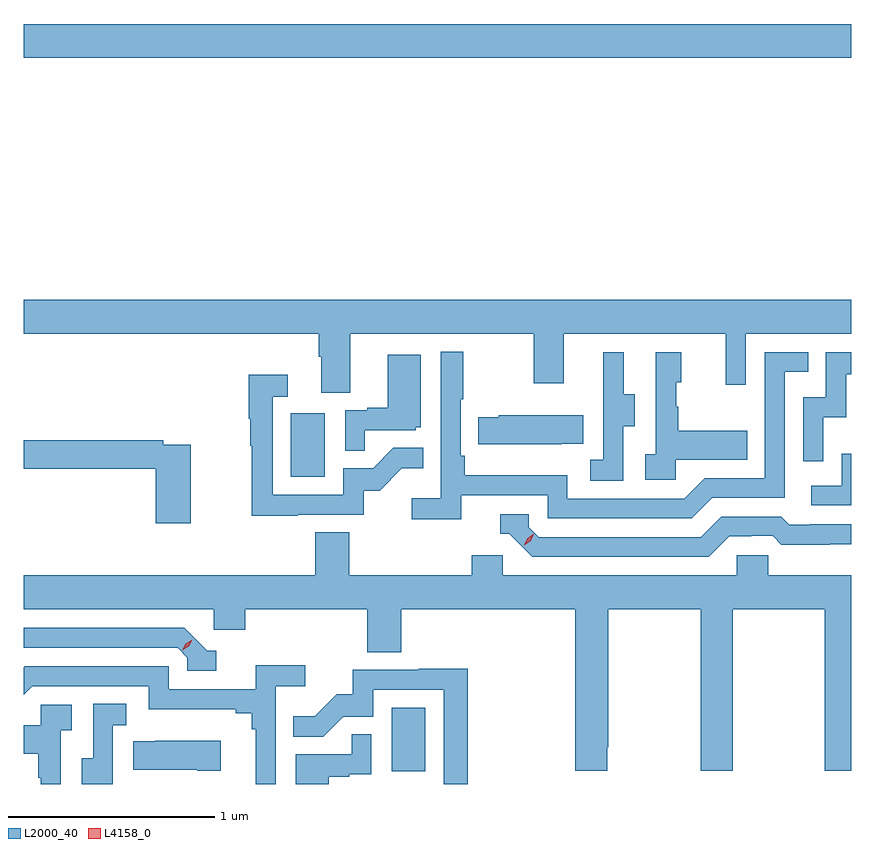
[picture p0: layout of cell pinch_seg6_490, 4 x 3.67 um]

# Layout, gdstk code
import gdstk
lib = gdstk.Library(unit=1e-6, precision=1e-09)
def R(c, l, rs):  # rectangles x0, y0, x1, y1
    for r in rs: c.add(gdstk.rectangle(r[:2], r[2:], *l))
def P(c, l, *ps):  # polygons
    for p in ps: c.add(gdstk.Polygon(p, *l))
L2000_40 = (2000, 40)
L4158_0 = (4158, 0)

pinch_seg6_490 = lib.new_cell('pinch_seg6_490')
R(pinch_seg6_490, L2000_40, [(844.016,926.574,844.18,926.881), (843.53,927.996,843.694,928.303), (842.238,930.02,846.238,930.184)])
P(pinch_seg6_490, L2000_40, [(843.817,928.688),(844.702,928.688),(844.702,928.449),(844.849,928.449),(844.849,928.688),(845.63,928.688),(845.63,928.44),(845.727,928.44),(845.727,928.688),(846.238,928.688),(846.238,928.852),(842.238,928.852),(842.238,928.688),(843.665,928.688),(843.665,928.576),(843.677,928.576),(843.677,928.402),(843.817,928.402)],
  [(844.352,927.906),(844.77,927.906),(844.77,927.795),(845.467,927.795),(845.566,927.894),(845.916,927.894),(845.916,928.503),(846.029,928.503),(846.029,928.599),(845.82,928.599),(845.82,927.99),(845.529,927.99),(845.43,927.891),(844.866,927.891),(844.866,928.003),(844.37,928.003),(844.37,928.099),(844.35,928.099),(844.35,928.372),(844.363,928.372),(844.363,928.6),(844.254,928.6),(844.254,927.892),(844.113,927.892),(844.113,927.79),(844.352,927.79)],
  [(846.102,928.283),(846.212,928.283),(846.212,928.491),(846.238,928.491),(846.238,928.599),(846.114,928.599),(846.114,928.38),(846.006,928.38),(846.006,928.071),(846.102,928.071)],
  [(845.388,928.079),(845.735,928.079),(845.735,928.219),(845.401,928.219),(845.401,928.334),(845.391,928.334),(845.391,928.452),(845.416,928.452),(845.416,928.597),(845.292,928.597),(845.292,928.106),(845.241,928.106),(845.241,927.981),(845.388,927.981)],
  [(845.136,928.24),(845.191,928.24),(845.191,928.395),(845.137,928.395),(845.137,928.597),(845.039,928.597),(845.039,928.383),(845.04,928.383),(845.04,928.079),(844.977,928.079),(844.977,927.976),(845.136,927.976)],
  [(843.887,928.221),(844.134,928.221),(844.134,928.236),(844.156,928.236),(844.156,928.585),(843.998,928.585),(843.998,928.33),(843.899,928.33),(843.899,928.317),(843.792,928.317),(843.792,928.123),(843.887,928.123)],
  [(843.563,927.813),(843.882,927.813),(843.882,927.93),(843.958,927.93),(844.065,928.037),(844.169,928.037),(844.169,928.136),(844.025,928.136),(843.927,928.038),(843.783,928.038),(843.783,927.909),(843.441,927.909),(843.441,928.383),(843.514,928.383),(843.514,928.489),(843.325,928.489),(843.325,928.276),(843.333,928.276),(843.333,928.146),(843.34,928.146),(843.34,927.808),(843.563,927.808)],
  [(844.835,928.157),(844.943,928.157),(844.943,928.294),(844.533,928.294),(844.533,928.284),(844.435,928.284),(844.435,928.154),(844.835,928.154)],
  [(843.046,928.152),(842.912,928.152),(842.912,928.172),(842.238,928.172),(842.238,928.036),(842.876,928.036),(842.876,927.771),(843.046,927.771)],
  [(846.238,928.108),(846.192,928.108),(846.192,927.954),(846.045,927.954),(846.045,927.858),(846.238,927.858)],
  [(845.647,927.708),(845.754,927.708),(845.754,927.711),(845.857,927.711),(845.899,927.669),(846.132,927.669),(846.132,927.671),(846.238,927.671),(846.238,927.768),(846.037,927.768),(846.037,927.765),(845.938,927.765),(845.899,927.804),(845.61,927.804),(845.511,927.705),(844.728,927.705),(844.68,927.753),(844.68,927.816),(844.541,927.816),(844.541,927.72),(844.584,927.72),(844.695,927.609),(845.548,927.609)],
  [(843.812,927.728),(843.647,927.728),(843.647,927.52),(842.238,927.52),(842.238,927.356),(843.156,927.356),(843.156,927.258),(843.308,927.258),(843.308,927.356),(843.899,927.356),(843.899,927.148),(844.064,927.148),(844.064,927.356),(844.904,927.356),(844.904,926.577),(845.059,926.577),(845.059,926.689),(845.064,926.689),(845.064,927.356),(845.509,927.356),(845.509,926.577),(845.664,926.577),(845.664,927.356),(846.109,927.356),(846.109,926.577),(846.238,926.577),(846.238,927.52),(845.835,927.52),(845.835,927.618),(845.685,927.618),(845.685,927.52),(844.554,927.52),(844.554,927.618),(844.403,927.618),(844.403,927.52),(843.812,927.52)],
  [(843.169,927.156),(843.126,927.156),(843.015,927.267),(842.238,927.267),(842.238,927.171),(842.982,927.171),(843.03,927.123),(843.03,927.06),(843.169,927.06)],
  [(843.456,926.984),(843.598,926.984),(843.598,927.086),(843.359,927.086),(843.359,926.97),(842.94,926.97),(842.94,927.081),(842.243,927.081),(842.238,927.076),(842.238,926.943),(842.28,926.985),(842.844,926.985),(842.844,926.873),(843.263,926.873),(843.263,926.854),(843.34,926.854),(843.34,926.777),(843.359,926.777),(843.359,926.512),(843.456,926.512)],
  [(844.385,927.068),(844.147,927.068),(844.147,927.063),(843.829,927.063),(843.829,926.946),(843.752,926.946),(843.645,926.839),(843.541,926.839),(843.541,926.74),(843.685,926.74),(843.783,926.838),(843.927,926.838),(843.927,926.967),(844.269,926.967),(844.269,926.512),(844.385,926.512)],
  [(842.67,926.797),(842.734,926.797),(842.734,926.9),(842.574,926.9),(842.574,926.637),(842.519,926.637),(842.519,926.512),(842.67,926.512)],
  [(842.418,926.771),(842.47,926.771),(842.47,926.895),(842.322,926.895),(842.322,926.797),(842.238,926.797),(842.238,926.657),(842.31,926.657),(842.31,926.543),(842.32,926.543),(842.32,926.512),(842.418,926.512)],
  [(843.712,926.547),(843.812,926.547),(843.812,926.559),(843.918,926.559),(843.918,926.753),(843.823,926.753),(843.823,926.655),(843.554,926.655),(843.554,926.512),(843.712,926.512)],
  [(843.19,926.722),(842.875,926.722),(842.875,926.719),(842.767,926.719),(842.767,926.582),(843.077,926.582),(843.077,926.575),(843.19,926.575)])
P(pinch_seg6_490, L4158_0, [(844.657,927.666),(844.657,927.667),(844.673,927.7),(844.703,927.72),(844.704,927.72),(844.704,927.72),(844.688,927.687),(844.657,927.666)],
  [(843.005,927.158),(843.005,927.158),(843.022,927.19),(843.053,927.209),(843.053,927.209),(843.053,927.209),(843.036,927.177),(843.005,927.158)])

lib.write_gds('pinch_seg6_490.gds')
